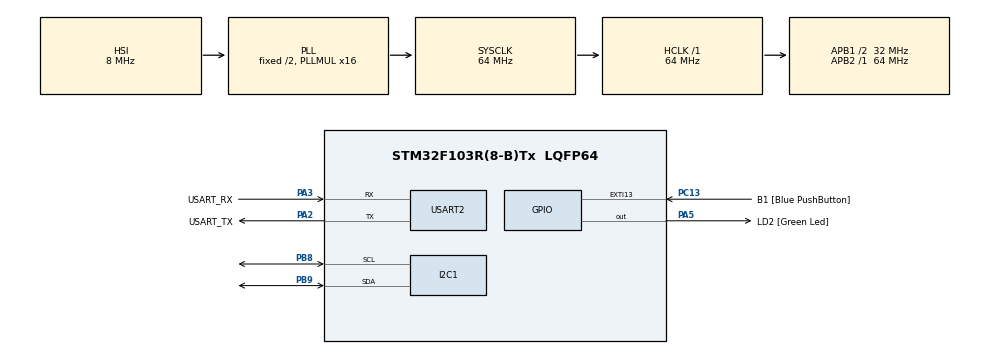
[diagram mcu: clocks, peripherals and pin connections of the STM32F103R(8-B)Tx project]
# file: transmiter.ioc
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Mcu.Family=STM32F1
Mcu.Name=STM32F103R(8-B)Tx
Mcu.Package=LQFP64
NVIC.EXTI15_10_IRQn=true\:0\:0\:false\:false\:true\:true\:true\:true
NVIC.PriorityGroup=NVIC_PRIORITYGROUP_4
PA13.GPIO_Label=TMS
PA13.Mode=Serial_Wire
PA13.Signal=SYS_JTMS-SWDIO
PA14.GPIO_Label=TCK
PA14.Mode=Serial_Wire
PA14.Signal=SYS_JTCK-SWCLK
PA2.GPIO_Label=USART_TX
PA2.GPIO_Mode=GPIO_MODE_AF_PP
PA2.GPIO_PuPd=GPIO_NOPULL
PA2.GPIO_Speed=GPIO_SPEED_FREQ_LOW
PA2.Mode=Asynchronous
PA2.Signal=USART2_TX
PA3.GPIO_Label=USART_RX
PA3.GPIO_Mode=GPIO_MODE_AF_PP
PA3.GPIO_PuPd=GPIO_NOPULL
PA3.GPIO_Speed=GPIO_SPEED_FREQ_LOW
PA3.Mode=Asynchronous
PA3.Signal=USART2_RX
PA5.GPIO_Label=LD2 [Green Led]
PA5.GPIO_ModeDefaultOutputPP=GPIO_MODE_OUTPUT_PP
PA5.GPIO_PuPd=GPIO_NOPULL
PA5.GPIO_Speed=GPIO_SPEED_FREQ_LOW
PA5.Signal=GPIO_Output
PB3.GPIO_Label=SWO
PB3.Signal=SYS_JTDO-TRACESWO
PB8.Mode=I2C
PB8.Signal=I2C1_SCL
PB9.Mode=I2C
PB9.Signal=I2C1_SDA
PC13-TAMPER-RTC.GPIO_Label=B1 [Blue PushButton]
PC13-TAMPER-RTC.GPIO_PuPd=GPIO_NOPULL
PC13-TAMPER-RTC.Signal=GPXTI13
PC14-OSC32_IN.Mode=LSE-External-Oscillator
PC14-OSC32_IN.Signal=RCC_OSC32_IN
PC15-OSC32_OUT.Mode=LSE-External-Oscillator
PC15-OSC32_OUT.Signal=RCC_OSC32_OUT
PD0-OSC_IN.Mode=HSE-External-Clock-Source
PD0-OSC_IN.Signal=RCC_OSC_IN
PD1-OSC_OUT.Mode=HSE-External-Clock-Source
PD1-OSC_OUT.Signal=RCC_OSC_OUT
ProjectManager.HeapSize=0x200
ProjectManager.StackSize=0x400
ProjectManager.TargetToolchain=STM32CubeIDE
RCC.AHBFreq_Value=64000000
RCC.APB1CLKDivider=RCC_HCLK_DIV2
RCC.APB1Freq_Value=32000000
RCC.APB1TimFreq_Value=64000000
RCC.APB2Freq_Value=64000000
RCC.APB2TimFreq_Value=64000000
RCC.HCLKFreq_Value=64000000
RCC.PLLMUL=RCC_PLL_MUL16
RCC.RTCClockSelection=RCC_RTCCLKSOURCE_LSE
RCC.SYSCLKFreq_VALUE=64000000
RCC.SYSCLKSource=RCC_SYSCLKSOURCE_PLLCLK
RCC.USBFreq_Value=64000000
USART2.VirtualMode=VM_ASYNC
board=NUCLEO-F103RB

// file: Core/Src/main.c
/* USER CODE BEGIN Header */
/**
  ******************************************************************************
  * @file           : main.c
  * @brief          : Main program body
  ******************************************************************************
  * @attention
  *
  * Copyright (c) 2022 STMicroelectronics.
  * All rights reserved.
  *
  * This software is licensed under terms that can be found in the LICENSE file
  * in the root directory of this software component.
  * If no LICENSE file comes with this software, it is provided AS-IS.
  *
  ******************************************************************************
  */
/* USER CODE END Header */
#include "main.h"

/* USER CODE BEGIN Includes */
#include <string.h>
#include <stdio.h>
/* USER CODE END Includes */

/* USER CODE BEGIN PD */
# define MPU6050_ADDR 0XD0
# define WHO_AM_I_REG 0x75
//Power reg
#define PWR_MGMT_1_REG 0x6B
//Dividerfor gyroscope output rate
#define SMPLRT_DIV_REG 0x19
// Config of gyro and accel
#define GYRO_CONFIG_REG 0x1B
#define ACCEL_CONFIG_REG 0x1C
// Registers for reading RAW values
#define ACCEL_XOUT_H_REG 0x3B
#define TEMP_OUT_H_REG 0x41
#define GYRO_XOUT_H_REG 0x43

// time intervals for events
#define BUTTON_EVENT 50
#define PRINT_EVENT 100

/* USER CODE END PD */

 I2C_HandleTypeDef hi2c1;

UART_HandleTypeDef huart2;

/* USER CODE BEGIN PV */
int16_t Accel_X_RAW = 0;
int16_t Accel_Y_RAW = 0;
int16_t Accel_Z_RAW = 0;

int16_t Gyro_X_RAW = 0;
int16_t Gyro_Y_RAW = 0;
int16_t Gyro_Z_RAW = 0;

float Ax, Ay, Az, Gx, Gy, Gz;

_Bool is_MPU6050_init = 0;
_Bool is_MPU6050_ok = 0;
_Bool is_button_pressed = 0;

uint32_t last_button_event = 0;
uint32_t last_print_event = 0;

/* USER CODE END PV */

void SystemClock_Config(void);
static void MX_GPIO_Init(void);
static void MX_USART2_UART_Init(void);
static void MX_I2C1_Init(void);

/* USER CODE BEGIN 0 */
int _write(int file, unsigned char *ptr, int len)
{
	HAL_UART_Transmit(&huart2, ptr, len, 50);
	return len;
}

_Bool is_MPU6050_working(void)
{
	uint8_t check;

	HAL_I2C_Mem_Read(&hi2c1, MPU6050_ADDR, WHO_AM_I_REG, 1, &check, 1, 1000);
	if(check == 0x68)
		return 1;
	else
	{
		return 0;
	}
}

_Bool MPU6050_Init(void)
{
	uint8_t check;
	uint8_t Data;

	// Testing MPU6050
	HAL_I2C_Mem_Read(&hi2c1, MPU6050_ADDR, WHO_AM_I_REG, 1, &check, 1, 1000);
	if(check == 0x68)
    {
	    // Waking up the sensor
	    Data = 0;
	    HAL_I2C_Mem_Write(&hi2c1, MPU6050_ADDR, PWR_MGMT_1_REG, 1, &Data, 1, 1000);
	    // Set DATA RATE of 1KHz by writing SMPLRT_DIV register
	    Data = 0x07;
	    HAL_I2C_Mem_Write(&hi2c1, MPU6050_ADDR, SMPLRT_DIV_REG, 1, &Data, 1, 1000);

	    // Set Gyro configuration in GYRO_CONFIG Register
	    // XG_ST=0, YG_ST=0, ZG_ST=0, FS_SEL=01 -> 500 st C/s
	    Data = 0x08;
	    HAL_I2C_Mem_Write(&hi2c1, MPU6050_ADDR, GYRO_CONFIG_REG, 1, &Data, 1, 1000);

	    // Set accel configuration in ACCEL_CONFIG Register
	    // XA_ST=0, YA_ST=0, ZA_ST=0, FS_SEL=01 -> 4g
	    Data = 0x08;
	    HAL_I2C_Mem_Write(&hi2c1, MPU6050_ADDR, ACCEL_CONFIG_REG, 1, &Data, 1, 1000);

	    return 1;
    }
	else
	{
		return 0;
	}
}

void MPU6050_Read_Accel(void)
{
	uint8_t Rec_Data[6];

	// Read 6 BYTES of data starting from ACCEL_XOUT_H register
	HAL_I2C_Mem_Read (&hi2c1, MPU6050_ADDR, ACCEL_XOUT_H_REG, 1, Rec_Data, 6, 1000);

	Accel_X_RAW = (int16_t)(Rec_Data[0] << 8 | Rec_Data [1]);
	Accel_Y_RAW = (int16_t)(Rec_Data[2] << 8 | Rec_Data [3]);
	Accel_Z_RAW = (int16_t)(Rec_Data[4] << 8 | Rec_Data [5]);

	// Converting to [st C] by dividing by full scale
	Ax = Accel_X_RAW/8192.0;
	Ay = Accel_Y_RAW/8192.0;
	Az = Accel_Z_RAW/8192.0;
}

void MPU6050_Read_Gyro (void)
{
	uint8_t Rec_Data[6];

	// Read 6 BYTES of data starting from GYRO_XOUT_H register
	HAL_I2C_Mem_Read (&hi2c1, MPU6050_ADDR, GYRO_XOUT_H_REG, 1, Rec_Data, 6, 1000);

	Gyro_X_RAW = (int16_t)(Rec_Data[0] << 8 | Rec_Data [1]);
	Gyro_Y_RAW = (int16_t)(Rec_Data[2] << 8 | Rec_Data [3]);
	Gyro_Z_RAW = (int16_t)(Rec_Data[4] << 8 | Rec_Data [5]);

	// Converting to [g] by dividing by full scale
	Gx = Gyro_X_RAW/65.5;
	Gy = Gyro_Y_RAW/65.5;
	Gz = Gyro_Z_RAW/65.5;
}
/* USER CODE END 0 */

int main(void)
{

  /* MCU Configuration--------------------------------------------------------*/

  /* Reset of all peripherals, Initializes the Flash interface and the Systick. */
  HAL_Init();

  /* Configure the system clock */
  SystemClock_Config();

  /* Initialize all configured peripherals */
  MX_GPIO_Init();
  MX_USART2_UART_Init();
  MX_I2C1_Init();
  /* USER CODE BEGIN 2 */

  is_MPU6050_init = MPU6050_Init();

  /* USER CODE END 2 */

  /* Infinite loop */
  /* USER CODE BEGIN WHILE */
  while (1)
  {
	  if(is_MPU6050_working())
		  is_MPU6050_ok = 1;
	  else
		  is_MPU6050_ok = 0;

	  MPU6050_Read_Accel();
	  //printf("Acceleration: \r\n X: %.2f, Y: %.2f, Z: %.2f.\r\n", Ax, Ay, Az);
	  MPU6050_Read_Gyro();
	  //printf("Orientation: \r\n X: %.2f, Y: %.2f, Z: %.2f.\r\n", Gx, Gy, Gz);

	  // checking if button is pressed
	  if(!HAL_GPIO_ReadPin(B1_GPIO_Port, B1_Pin))
	  {
		  is_button_pressed = 1;
		  last_button_event = HAL_GetTick();
	  }
	  if(!HAL_GPIO_ReadPin(B1_GPIO_Port, B1_Pin) && HAL_GetTick() - last_button_event >= BUTTON_EVENT)
	  {
		  is_button_pressed = 1;
	  }
	  if(HAL_GPIO_ReadPin(B1_GPIO_Port, B1_Pin) && HAL_GetTick() - last_button_event >= BUTTON_EVENT)
	  {
	  		  is_button_pressed = 0;
	  }

	  // sending data over UART every 200ms
	  if(HAL_GetTick() - last_print_event >= PRINT_EVENT)
	  {
		  last_print_event = HAL_GetTick();
		  printf("%d %d %d %.2f %.2f \r\n", is_MPU6050_init, is_MPU6050_ok, is_button_pressed, Gy, Gz);
	  }

    /* USER CODE END WHILE */

  }
}

void SystemClock_Config(void)
{
  RCC_OscInitTypeDef RCC_OscInitStruct = {0};
  RCC_ClkInitTypeDef RCC_ClkInitStruct = {0};

  /** Initializes the RCC Oscillators according to the specified parameters
  * in the RCC_OscInitTypeDef structure.
  */
  RCC_OscInitStruct.OscillatorType = RCC_OSCILLATORTYPE_HSI;
  RCC_OscInitStruct.HSIState = RCC_HSI_ON;
  RCC_OscInitStruct.HSICalibrationValue = RCC_HSICALIBRATION_DEFAULT;
  RCC_OscInitStruct.PLL.PLLState = RCC_PLL_ON;
  RCC_OscInitStruct.PLL.PLLSource = RCC_PLLSOURCE_HSI_DIV2;
  RCC_OscInitStruct.PLL.PLLMUL = RCC_PLL_MUL16;
  if (HAL_RCC_OscConfig(&RCC_OscInitStruct) != HAL_OK)
  {
    Error_Handler();
  }

  /** Initializes the CPU, AHB and APB buses clocks
  */
  RCC_ClkInitStruct.ClockType = RCC_CLOCKTYPE_HCLK|RCC_CLOCKTYPE_SYSCLK
                              |RCC_CLOCKTYPE_PCLK1|RCC_CLOCKTYPE_PCLK2;
  RCC_ClkInitStruct.SYSCLKSource = RCC_SYSCLKSOURCE_PLLCLK;
  RCC_ClkInitStruct.AHBCLKDivider = RCC_SYSCLK_DIV1;
  RCC_ClkInitStruct.APB1CLKDivider = RCC_HCLK_DIV2;
  RCC_ClkInitStruct.APB2CLKDivider = RCC_HCLK_DIV1;

  if (HAL_RCC_ClockConfig(&RCC_ClkInitStruct, FLASH_LATENCY_2) != HAL_OK)
  {
    Error_Handler();
  }
}

static void MX_I2C1_Init(void)
{

  hi2c1.Instance = I2C1;
  hi2c1.Init.ClockSpeed = 100000;
  hi2c1.Init.DutyCycle = I2C_DUTYCYCLE_2;
  hi2c1.Init.OwnAddress1 = 0;
  hi2c1.Init.AddressingMode = I2C_ADDRESSINGMODE_7BIT;
  hi2c1.Init.DualAddressMode = I2C_DUALADDRESS_DISABLE;
  hi2c1.Init.OwnAddress2 = 0;
  hi2c1.Init.GeneralCallMode = I2C_GENERALCALL_DISABLE;
  hi2c1.Init.NoStretchMode = I2C_NOSTRETCH_DISABLE;
  if (HAL_I2C_Init(&hi2c1) != HAL_OK)
  {
    Error_Handler();
  }

}

static void MX_USART2_UART_Init(void)
{

  huart2.Instance = USART2;
  huart2.Init.BaudRate = 115200;
  huart2.Init.WordLength = UART_WORDLENGTH_8B;
  huart2.Init.StopBits = UART_STOPBITS_1;
  huart2.Init.Parity = UART_PARITY_NONE;
  huart2.Init.Mode = UART_MODE_TX_RX;
  huart2.Init.HwFlowCtl = UART_HWCONTROL_NONE;
  huart2.Init.OverSampling = UART_OVERSAMPLING_16;
  if (HAL_UART_Init(&huart2) != HAL_OK)
  {
    Error_Handler();
  }

}

static void MX_GPIO_Init(void)
{
  GPIO_InitTypeDef GPIO_InitStruct = {0};

  /* GPIO Ports Clock Enable */
  __HAL_RCC_GPIOC_CLK_ENABLE();
  __HAL_RCC_GPIOD_CLK_ENABLE();
  __HAL_RCC_GPIOA_CLK_ENABLE();
  __HAL_RCC_GPIOB_CLK_ENABLE();

  /*Configure GPIO pin Output Level */
  HAL_GPIO_WritePin(LD2_GPIO_Port, LD2_Pin, GPIO_PIN_RESET);

  /*Configure GPIO pin : B1_Pin */
  GPIO_InitStruct.Pin = B1_Pin;
  GPIO_InitStruct.Mode = GPIO_MODE_IT_RISING;
  GPIO_InitStruct.Pull = GPIO_NOPULL;
  HAL_GPIO_Init(B1_GPIO_Port, &GPIO_InitStruct);

  /*Configure GPIO pin : LD2_Pin */
  GPIO_InitStruct.Pin = LD2_Pin;
  GPIO_InitStruct.Mode = GPIO_MODE_OUTPUT_PP;
  GPIO_InitStruct.Pull = GPIO_NOPULL;
  GPIO_InitStruct.Speed = GPIO_SPEED_FREQ_LOW;
  HAL_GPIO_Init(LD2_GPIO_Port, &GPIO_InitStruct);

  /* EXTI interrupt init*/
  HAL_NVIC_SetPriority(EXTI15_10_IRQn, 0, 0);
  HAL_NVIC_EnableIRQ(EXTI15_10_IRQn);

}

void Error_Handler(void)
{
  __disable_irq();
  while (1)
  {
  }
}
